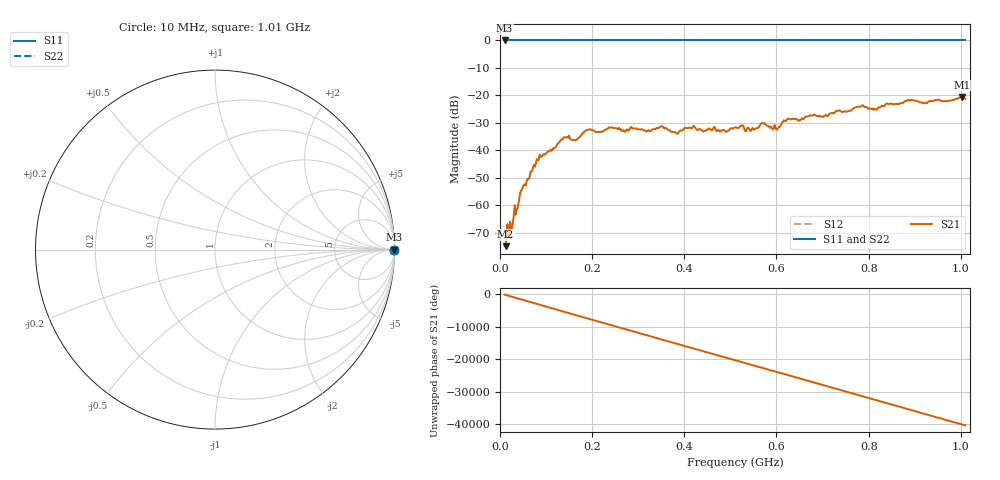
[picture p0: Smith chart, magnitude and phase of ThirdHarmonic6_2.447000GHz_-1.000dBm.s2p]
! 8/17/2025 4:20:53 AM
! C:\ANRITSUVNA\TEMP\TEMP.S2P
! CHANNEL.1
! TR.MEASUREMENT
! RAW.DATA
! RF.CORRECTION.OFF
! AVERAGING.OFF
! IF.BANDWIDTH: 5KHZ
! SWEEPTYPE:  FREQ.SWEEP(Linear)
! Reference Plane Port Info
! PORT:  PORT1  PORT2
! DISTANCE:  0  m  0  m
! TIME:  0  s  0  s
! PHASE.OFFSET:  0  deg.  0  deg.
! LOSS:  0  dB  0  dB
! REF.LOSS:  0  dB  0  dB
! REF.FREQ:  0  Hz  0  Hz
! Power Info
! POWER:  -20  dBm  -20  dBm
! EFF.POWER:  -20  dBm  -20  dBm
! SOURCE.ATTEN:  0  dB  0  dB
! TEST.ATTEN:  0  dB  0  dB
# GHZ S RI R 50.0
! FREQ.GHZ  S11RE  S11IM  S21RE  S21IM  S12RE  S12IM  S22RE  S22IM
!; PortSelection: Port_12
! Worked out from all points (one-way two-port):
!   501 points, 10 MHz to 1.01 GHz, reference 50 ohm
!   highest |S21| = -20.56 dB at 1.002 GHz (marker M1); lowest = -74.8 dB at 12 MHz (marker M2)
!   lowest |S11| = 0.0 dB at 10 MHz (marker M3)
!   |S11| at or under -10 dB: nowhere
!   |S22| runs from 0.0 to 0.0 dB; largest |S21 - S12| = 1.1
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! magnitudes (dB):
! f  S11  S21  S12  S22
! 10 MHz  0.0  -74.5  0.0  0.0
! 12 MHz  0.0  -74.8  0.0  0.0
! 24 MHz  0.0  -68.7  0.0  0.0
! 48 MHz  0.0  -54.1  0.0  0.0
! 82 MHz  0.0  -43.5  0.0  0.0
! 136 MHz  0.0  -36.0  0.0  0.0
! 164 MHz  0.0  -36.3  0.0  0.0
! 178 MHz  0.0  -34.1  0.0  0.0
! 240 MHz  0.0  -31.6  0.0  0.0
! 344 MHz  0.0  -31.9  0.0  0.0
! 384 MHz  0.0  -33.9  0.0  0.0
! 418 MHz  0.0  -31.4  0.0  0.0
! 444 MHz  0.0  -32.9  0.0  0.0
! 510 MHz  0.0  -31.6  0.0  0.0
! 548 MHz  0.0  -31.8  0.0  0.0
! 570 MHz  0.0  -30.0  0.0  0.0
! 602 MHz  0.0  -32.4  0.0  0.0
! 626 MHz  0.0  -28.4  0.0  0.0
! 678 MHz  0.0  -27.3  0.0  0.0
! 844 MHz  0.0  -23.1  0.0  0.0
! 1.002 GHz  0.0  -20.6  0.0  0.0
! 1.01 GHz  0.0  -21.3  0.0  0.0
